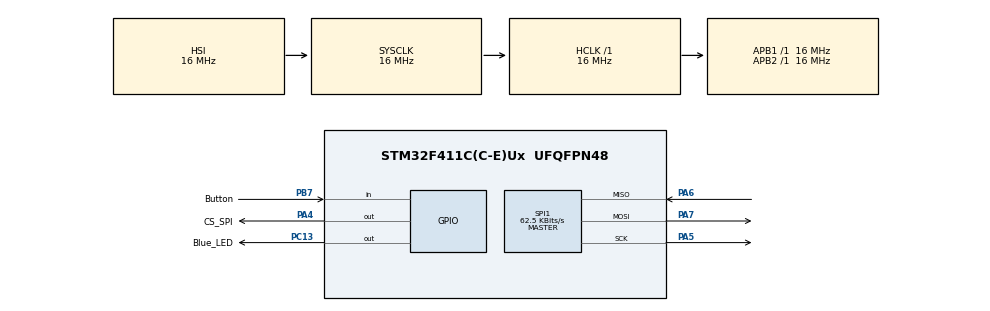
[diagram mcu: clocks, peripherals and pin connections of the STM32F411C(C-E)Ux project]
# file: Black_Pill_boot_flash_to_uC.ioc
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Mcu.Family=STM32F4
Mcu.Name=STM32F411C(C-E)Ux
Mcu.Package=UFQFPN48
NVIC.PriorityGroup=NVIC_PRIORITYGROUP_4
PA13.Mode=Trace_Asynchronous_SW
PA13.Signal=SYS_JTMS-SWDIO
PA14.Mode=Trace_Asynchronous_SW
PA14.Signal=SYS_JTCK-SWCLK
PA4.GPIO_Label=CS_SPI
PA4.Signal=GPIO_Output
PA5.Mode=Full_Duplex_Master
PA5.Signal=SPI1_SCK
PA6.Mode=Full_Duplex_Master
PA6.Signal=SPI1_MISO
PA7.Mode=Full_Duplex_Master
PA7.Signal=SPI1_MOSI
PB3.Mode=Trace_Asynchronous_SW
PB3.Signal=SYS_JTDO-SWO
PB7.GPIO_Label=Button
PB7.Signal=GPIO_Input
PC13-ANTI_TAMP.GPIO_Label=Blue_LED
PC13-ANTI_TAMP.Signal=GPIO_Output
ProjectManager.HeapSize=0x200
ProjectManager.StackSize=0x400
ProjectManager.TargetToolchain=STM32CubeIDE
RCC.AHBFreq_Value=16000000
RCC.APB1Freq_Value=16000000
RCC.APB2Freq_Value=16000000
RCC.CortexFreq_Value=16000000
RCC.HSE_VALUE=25000000
RCC.HSI_VALUE=16000000
RCC.LSE_VALUE=32768
RCC.SYSCLKFreq_VALUE=16000000
RCC.VCOOutputFreq_Value=192000000
SPI1.BaudRatePrescaler=SPI_BAUDRATEPRESCALER_256
SPI1.CalculateBaudRate=62.5 KBits/s
SPI1.Direction=SPI_DIRECTION_2LINES
SPI1.Mode=SPI_MODE_MASTER
SPI1.VirtualType=VM_MASTER
board=custom

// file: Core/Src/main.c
/* USER CODE BEGIN Header */
/**
  ******************************************************************************
  * @file           : main.c
  * @brief          : Main program body
  ******************************************************************************
  * @attention
  *
  * Copyright (c) 2024 STMicroelectronics.
  * All rights reserved.
  *
  * This software is licensed under terms that can be found in the LICENSE file
  * in the root directory of this software component.
  * If no LICENSE file comes with this software, it is provided AS-IS.
  *
  ******************************************************************************
  */
/* USER CODE END Header */
#include "main.h"

/* USER CODE BEGIN Includes */
#include <stdio.h>
#include <inttypes.h>
#include <string.h>
#include "stdbool.h"

#define APP_START_ADDRESS 0x0800C000
/* USER CODE END Includes */

/* USER CODE BEGIN PM */

uint8_t RX_Data_1 = 0;						// Буфер для считывания регистра состояния внешней флеш
uint8_t RX_Data_256 [256] = {0};			// Буфер для считывания страницы внешней флеш
uint8_t Read_Status_Register_cmd = 0x05;    // Может не нужен?
uint8_t Read_Data_cmd = 0x03;				// Команда считывания из внещней флеш
uint8_t TX_Read_Data [4];					// Команда считывания из внешней флеш + адрес (3 байта)

uint32_t firmware_size = 0;					// Размер прошивки во внешней флеш в байтах
uint32_t SectorError = 0; 					// Ошибка сектора указывает на переменную, которая содержит
											// информацию о конфигурации поврежденного сектора в случае
											// ошибки (0xFFFFFFFFu означает, что все сектора были правильно удалены).

uint32_t MAX_flash_addr = 0x03FF00;			// До этого адреса сканируем внешнюю флеш на окончание прошивки
uint32_t Pages_counter = 0;					// Сколько страниц считали/вывели в SWV
uint32_t FF_counter = 0;					//

/* USER CODE END PM */

SPI_HandleTypeDef hspi1;

void SystemClock_Config(void);
static void MX_GPIO_Init(void);
static void MX_SPI1_Init(void);
/* USER CODE BEGIN PFP */

//void Read_Page (uint32_t addr);
void Read_Data(uint32_t addr);				// Считывает страницу с внешней флен в RX_Data_256
int Check_BUSY_bit (void);					// Считывает бит "занято" регистра состояния внешней флеш
uint32_t Find_end_of_firmware(void);		// Находит 32 байта 0xFF идущих подряд
void Erase_MCU (void);						// Стирает внутреннюю флеш
void Write_MCU (void);						// Прошивает внутреннюю флеш

/* USER CODE END PFP */

/* USER CODE BEGIN 0 */
int __io_putchar(int ch) {
	ITM_SendChar(ch);
	return ch;
}
/* USER CODE END 0 */

int main(void)
{

  /* MCU Configuration--------------------------------------------------------*/

  /* Reset of all peripherals, Initializes the Flash interface and the Systick. */
  HAL_Init();

  /* Configure the system clock */
  SystemClock_Config();

  /* Initialize all configured peripherals */
  MX_GPIO_Init();
  MX_SPI1_Init();
  /* USER CODE BEGIN 2 */
  printf("Bootloader begin\n");														// Начало бутлодера, включаем диод
  HAL_GPIO_WritePin(GPIOC, GPIO_PIN_13, GPIO_PIN_RESET);

  while(Check_BUSY_bit()){															// Проверка что внешняя флеш не занята никаким процессом
	  printf("BUSY \n");
	  HAL_Delay(50);
  }

  firmware_size = Find_end_of_firmware();
  if(firmware_size == UINT32_MAX) printf("Error! Couldn'n find end of firmware\n");
  else printf("Programm size %" PRId32 " \n", firmware_size);

  if(!HAL_GPIO_ReadPin(Button_GPIO_Port, Button_Pin)) {
	  printf("Start erasing MCU \n");
	  Erase_MCU();
  } else {
	  printf("Start writing MCU \n");

	  HAL_GPIO_WritePin(GPIOC, GPIO_PIN_13, GPIO_PIN_SET);
	  HAL_Delay(100);
	  HAL_GPIO_WritePin(GPIOC, GPIO_PIN_13, GPIO_PIN_RESET);
	  HAL_Delay(100);
	  HAL_GPIO_WritePin(GPIOC, GPIO_PIN_13, GPIO_PIN_SET);
	  HAL_Delay(100);
	  HAL_GPIO_WritePin(GPIOC, GPIO_PIN_13, GPIO_PIN_RESET);

	  Write_MCU();
  }

  HAL_GPIO_WritePin(GPIOC, GPIO_PIN_13, GPIO_PIN_SET);		// Выключаем диод. Бутлодер кончился, переходим на основную прошивку
  printf("Bootloader end\n");

  uint32_t appJumpAddress;
  appJumpAddress = * ((volatile uint32_t*)(APP_START_ADDRESS + 4));

  HAL_SPI_DeInit(&hspi1);
  HAL_RCC_DeInit();
  HAL_DeInit();

  void(*GoToApp)(void);
  GoToApp = (void (*)(void)) appJumpAddress;

  __disable_irq();
  __set_MSP(*((volatile uint32_t*)APP_START_ADDRESS));
  GoToApp();
  /* USER CODE END 2 */

  /* Infinite loop */
  while (1)
  {

  }
}

void SystemClock_Config(void)
{
  RCC_OscInitTypeDef RCC_OscInitStruct = {0};
  RCC_ClkInitTypeDef RCC_ClkInitStruct = {0};

  /** Configure the main internal regulator output voltage
  */
  __HAL_RCC_PWR_CLK_ENABLE();
  __HAL_PWR_VOLTAGESCALING_CONFIG(PWR_REGULATOR_VOLTAGE_SCALE1);

  /** Initializes the RCC Oscillators according to the specified parameters
  * in the RCC_OscInitTypeDef structure.
  */
  RCC_OscInitStruct.OscillatorType = RCC_OSCILLATORTYPE_HSI;
  RCC_OscInitStruct.HSIState = RCC_HSI_ON;
  RCC_OscInitStruct.HSICalibrationValue = RCC_HSICALIBRATION_DEFAULT;
  RCC_OscInitStruct.PLL.PLLState = RCC_PLL_NONE;
  if (HAL_RCC_OscConfig(&RCC_OscInitStruct) != HAL_OK)
  {
    Error_Handler();
  }

  /** Initializes the CPU, AHB and APB buses clocks
  */
  RCC_ClkInitStruct.ClockType = RCC_CLOCKTYPE_HCLK|RCC_CLOCKTYPE_SYSCLK
                              |RCC_CLOCKTYPE_PCLK1|RCC_CLOCKTYPE_PCLK2;
  RCC_ClkInitStruct.SYSCLKSource = RCC_SYSCLKSOURCE_HSI;
  RCC_ClkInitStruct.AHBCLKDivider = RCC_SYSCLK_DIV1;
  RCC_ClkInitStruct.APB1CLKDivider = RCC_HCLK_DIV1;
  RCC_ClkInitStruct.APB2CLKDivider = RCC_HCLK_DIV1;

  if (HAL_RCC_ClockConfig(&RCC_ClkInitStruct, FLASH_LATENCY_0) != HAL_OK)
  {
    Error_Handler();
  }
}

static void MX_SPI1_Init(void)
{

  /* SPI1 parameter configuration*/
  hspi1.Instance = SPI1;
  hspi1.Init.Mode = SPI_MODE_MASTER;
  hspi1.Init.Direction = SPI_DIRECTION_2LINES;
  hspi1.Init.DataSize = SPI_DATASIZE_8BIT;
  hspi1.Init.CLKPolarity = SPI_POLARITY_LOW;
  hspi1.Init.CLKPhase = SPI_PHASE_1EDGE;
  hspi1.Init.NSS = SPI_NSS_SOFT;
  hspi1.Init.BaudRatePrescaler = SPI_BAUDRATEPRESCALER_256;
  hspi1.Init.FirstBit = SPI_FIRSTBIT_MSB;
  hspi1.Init.TIMode = SPI_TIMODE_DISABLE;
  hspi1.Init.CRCCalculation = SPI_CRCCALCULATION_DISABLE;
  hspi1.Init.CRCPolynomial = 10;
  if (HAL_SPI_Init(&hspi1) != HAL_OK)
  {
    Error_Handler();
  }

}

static void MX_GPIO_Init(void)
{
  GPIO_InitTypeDef GPIO_InitStruct = {0};

  /* GPIO Ports Clock Enable */
  __HAL_RCC_GPIOC_CLK_ENABLE();
  __HAL_RCC_GPIOA_CLK_ENABLE();
  __HAL_RCC_GPIOB_CLK_ENABLE();

  /*Configure GPIO pin Output Level */
  HAL_GPIO_WritePin(Blue_LED_GPIO_Port, Blue_LED_Pin, GPIO_PIN_RESET);

  /*Configure GPIO pin Output Level */
  HAL_GPIO_WritePin(CS_SPI_GPIO_Port, CS_SPI_Pin, GPIO_PIN_RESET);

  /*Configure GPIO pin : Blue_LED_Pin */
  GPIO_InitStruct.Pin = Blue_LED_Pin;
  GPIO_InitStruct.Mode = GPIO_MODE_OUTPUT_PP;
  GPIO_InitStruct.Pull = GPIO_NOPULL;
  GPIO_InitStruct.Speed = GPIO_SPEED_FREQ_LOW;
  HAL_GPIO_Init(Blue_LED_GPIO_Port, &GPIO_InitStruct);

  /*Configure GPIO pin : CS_SPI_Pin */
  GPIO_InitStruct.Pin = CS_SPI_Pin;
  GPIO_InitStruct.Mode = GPIO_MODE_OUTPUT_PP;
  GPIO_InitStruct.Pull = GPIO_NOPULL;
  GPIO_InitStruct.Speed = GPIO_SPEED_FREQ_LOW;
  HAL_GPIO_Init(CS_SPI_GPIO_Port, &GPIO_InitStruct);

  /*Configure GPIO pin : Button_Pin */
  GPIO_InitStruct.Pin = Button_Pin;
  GPIO_InitStruct.Mode = GPIO_MODE_INPUT;
  GPIO_InitStruct.Pull = GPIO_NOPULL;
  HAL_GPIO_Init(Button_GPIO_Port, &GPIO_InitStruct);

}

/* USER CODE BEGIN 4 */

int Check_BUSY_bit (void){
	HAL_GPIO_WritePin(CS_SPI_GPIO_Port, CS_SPI_Pin, GPIO_PIN_RESET);						// read status register
	HAL_SPI_Transmit(&hspi1, &Read_Status_Register_cmd, sizeof(Read_Status_Register_cmd), 1000);
	HAL_SPI_Receive(&hspi1, &RX_Data_1, sizeof(RX_Data_1), 1000);
	HAL_GPIO_WritePin(CS_SPI_GPIO_Port, CS_SPI_Pin, GPIO_PIN_SET);
	//HAL_Delay(50);

	return (RX_Data_1 & 1);
}

void Read_Data(uint32_t addr){
	TX_Read_Data [0] = Read_Data_cmd;
	TX_Read_Data [1] = (uint8_t)(addr >> 16) & 0xFF;
	TX_Read_Data [2] = (uint8_t)(addr >> 8) & 0xFF;
	TX_Read_Data [3] = (uint8_t)(addr & 0xFF);

	HAL_GPIO_WritePin(CS_SPI_GPIO_Port, CS_SPI_Pin, GPIO_PIN_RESET);						// read first page
	HAL_SPI_Transmit(&hspi1, TX_Read_Data, sizeof(TX_Read_Data), 1000);
	HAL_SPI_Receive(&hspi1, RX_Data_256, sizeof(RX_Data_256), 1000);
	HAL_GPIO_WritePin(CS_SPI_GPIO_Port, CS_SPI_Pin, GPIO_PIN_SET);
	//HAL_Delay(30);
}

uint32_t Find_end_of_firmware(void) {
	while(MAX_flash_addr > firmware_size) {								// Читаем и выводим постранично
		Read_Data(firmware_size);

		printf("Page: %" PRId32 " \n", Pages_counter);					// Выводим в формате 16h побайтово по странице
		for(int x = 0; x < 16; x++){
	  		for(int y = 0; y < 16; y++){				 					// Квадратом 16 на 16
	  			printf("0x%02X ", RX_Data_256[y + x*16]);
	  			if(RX_Data_256[y + x*16] == 0xFF) {							// Ищем конец файла строку 0xFF
	  				FF_counter++;

	  				if(FF_counter == 16) {
	  					firmware_size = firmware_size + (x * 16);
	  					printf("\n");
	  					return firmware_size;
	  				}
	  			}
	  	  }
	  	  FF_counter = 0;
	  	  printf("\n");
	  	}
		printf("\n");
	  	firmware_size += 0x100;
	  	Pages_counter++;
	  }
	printf("\n");
    return UINT32_MAX;
}

void Erase_MCU (void){
	__disable_irq();

	FLASH_EraseInitTypeDef eraseInitStruct;
	eraseInitStruct.TypeErase = FLASH_TYPEERASE_SECTORS;
	eraseInitStruct.Banks = FLASH_BANK_1;
	eraseInitStruct.Sector = FLASH_SECTOR_3;
	eraseInitStruct.NbSectors = 1;
	eraseInitStruct.VoltageRange = FLASH_VOLTAGE_RANGE_3;

	HAL_FLASH_Unlock();
	HAL_FLASHEx_Erase(&eraseInitStruct, &SectorError);
	HAL_FLASH_Lock();

	__enable_irq();
}

void Write_MCU (void){
	uint32_t buff_to_write = 0;					// Будем записывать словами по 32 бита
	uint32_t bytes_written = 0;					// Сколько байт записали во внутреннюю флеш

	__disable_irq();
	HAL_FLASH_Unlock();

	for(int x = 0; x < firmware_size; x += 256){
		Read_Data(x);
		for(int y = 0; y < 256; y += 4) {
			buff_to_write = (uint32_t) (RX_Data_256[y+3] << 24)|(RX_Data_256[y+2] << 16)|(RX_Data_256[y+1] << 8)|(RX_Data_256[y] << 0);
			HAL_FLASH_Program(FLASH_TYPEPROGRAM_WORD, APP_START_ADDRESS + (bytes_written), buff_to_write);
			bytes_written += 4;
			buff_to_write = 0;
		}
		printf("bytes_written %" PRId32 " \n", bytes_written);
	}
	if(firmware_size - bytes_written > 0) {
		Read_Data(bytes_written);
		for(int y = 0; y < (firmware_size % 256); y += 4) {
			buff_to_write = (uint32_t) (RX_Data_256[y] << 0)|(RX_Data_256[y+1] << 8)|(RX_Data_256[y+2] << 16)|(RX_Data_256[y+3] << 24);
			HAL_FLASH_Program(FLASH_TYPEPROGRAM_WORD, APP_START_ADDRESS + (bytes_written), buff_to_write);
			bytes_written += 4;
		}
	}

	HAL_FLASH_Lock();
	__enable_irq();
}

/* USER CODE END 4 */

void Error_Handler(void)
{
  __disable_irq();
  while (1)
  {
  }
}
